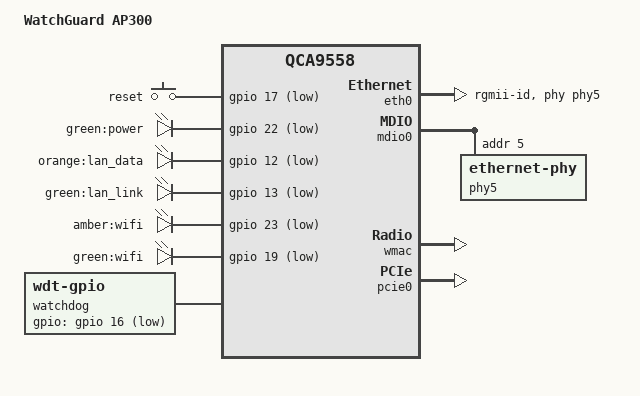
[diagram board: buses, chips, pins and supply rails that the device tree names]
// SPDX-License-Identifier: GPL-2.0-or-later OR MIT

#include "qca955x_senao_loader.dtsi"

#include <dt-bindings/gpio/gpio.h>
#include <dt-bindings/input/input.h>

/ {
	compatible = "watchguard,ap300", "qca,qca9558";
	model = "WatchGuard AP300";

	aliases {
		label-mac-device = &eth0;
		led-boot = &led_power;
		led-failsafe = &led_power;
		led-running = &led_power;
		led-upgrade = &led_power;
	};

	keys {
		compatible = "gpio-keys";

		reset {
			linux,code = <KEY_RESTART>;
			gpios = <&gpio 17 GPIO_ACTIVE_LOW>;
			debounce-interval = <60>;
		};
	};

	leds {
		compatible = "gpio-leds";

		led_power: power {
			label = "green:power";
			gpios = <&gpio 22 GPIO_ACTIVE_LOW>;
			default-state = "on";
		};

		lan_data {
			label = "orange:lan_data";
			gpios = <&gpio 12 GPIO_ACTIVE_LOW>;
		};

		lan_link {
			label = "green:lan_link";
			gpios = <&gpio 13 GPIO_ACTIVE_LOW>;
		};

		wifi_amber {
			label = "amber:wifi";
			gpios = <&gpio 23 GPIO_ACTIVE_LOW>;
			linux,default-trigger = "phy1tpt";
		};

		wifi_green {
			label = "green:wifi";
			gpios = <&gpio 19 GPIO_ACTIVE_LOW>;
			linux,default-trigger = "phy0tpt";
		};
	};

	virtual_flash {
		devices = <&fwconcat0 &fwconcat1 &fwconcat2>;
	};

	watchdog {
		compatible = "linux,wdt-gpio";
		gpios = <&gpio 16 GPIO_ACTIVE_LOW>;
		hw_algo = "toggle";
		hw_margin_ms = <20000>;
		always-running;
	};
};

&eth0 {
	status = "okay";

	nvmem-cells = <&macaddr_art_0>;
	nvmem-cell-names = "mac-address";

	phy-handle = <&phy5>;
	phy-mode = "rgmii-id";

	pll-data = <0x82000000 0x80000101 0x80001313>;
};

&mdio0 {
	status = "okay";

	phy5: ethernet-phy@5 {
		reg = <5>;
		eee-broken-100tx;
		eee-broken-1000t;
	};
};

&partitions {
	fwconcat2: partition@ff0000 {
		label = "fwconcat2";
		reg = <0xff0000 0x1000000>;
	};

	art: partition@1ff0000 {
		label = "art";
		reg = <0x1ff0000 0x010000>;
		read-only;
	};
};

&wdt {
	status = "disabled";
};

&wmac {
	status = "okay";

	mtd-cal-data = <&art 0x1000>;

	nvmem-cells = <&macaddr_art_0>;
	nvmem-cell-names = "mac-address";
	mac-address-increment = <1>;
};

&pcie0 {
	status = "okay";
};

&art {
	compatible = "nvmem-cells";
	#address-cells = <1>;
	#size-cells = <1>;

	macaddr_art_0: macaddr@0 {
		reg = <0x0 0x6>;
	};
};
